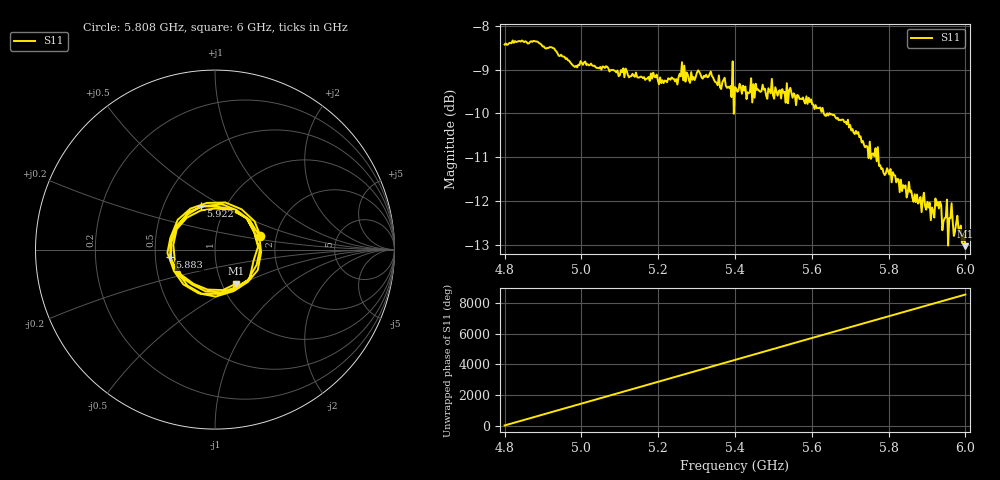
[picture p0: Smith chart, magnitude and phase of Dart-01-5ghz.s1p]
! NanoVNA-App
! Date: 2026-05-25 01:58:33
! Start: 4.8GHz Stop: 6GHz Points: 401
! S-Parameter data: F S11
# Hz S RI R 50
!  Frequency  S11_Real  S11_Imag
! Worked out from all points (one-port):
!   401 points, 4.8 GHz to 6 GHz, reference 50 ohm
!   lowest |S11| = -13.0 dB at 6 GHz (marker M1), VSWR 1.57, Z = 58.2 - j23.3 ohm
!   |S11| at or under -10 dB: 5.396984 GHz to 5.397031 GHz (46.8 kHz wide, 0.000867 % of centre); 5.631236 GHz to 5.639863 GHz (8.627 MHz wide, 0.153 % of centre); 5.647 GHz to end of sweep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
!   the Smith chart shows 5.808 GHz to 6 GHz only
!   S11 on the Smith chart (normalised r, x): 5.808 GHz: 1.65, +0.27; 5.883 GHz: 0.60, -0.05; 5.922 GHz: 0.77, +0.40; 6 GHz: 1.16, -0.47
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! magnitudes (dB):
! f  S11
! 4.8 GHz  -8.4
! 4.881 GHz  -8.4
! 4.95 GHz  -8.7
! 4.983 GHz  -8.9
! 5.004 GHz  -8.9
! 5.1 GHz  -9.1
! 5.25 GHz  -9.3
! 5.262 GHz  -8.8
! 5.277 GHz  -9.1
! 5.304 GHz  -9.0
! 5.4 GHz  -9.4
! 5.403 GHz  -9.4
! 5.406 GHz  -9.5
! 5.415 GHz  -9.4
! 5.55 GHz  -9.6
! 5.7 GHz  -10.3
! 5.742 GHz  -10.7
! 5.766 GHz  -10.8
! 5.787 GHz  -11.4
! 5.808 GHz  -11.6
! 5.85 GHz  -11.8
! 5.883 GHz  -11.9
! 5.913 GHz  -12.1
! 5.922 GHz  -11.9
! 5.928 GHz  -12.0
! 5.943 GHz  -12.5
! 5.982 GHz  -12.6
! 6 GHz  -13.0
